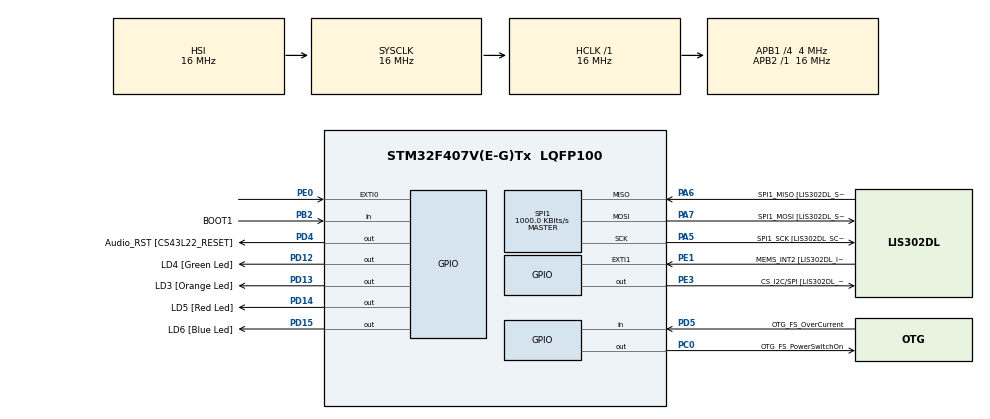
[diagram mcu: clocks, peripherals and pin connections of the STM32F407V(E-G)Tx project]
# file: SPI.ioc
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Mcu.Family=STM32F4
Mcu.Name=STM32F407V(E-G)Tx
Mcu.Package=LQFP100
NVIC.EXTI0_IRQn=true\:0\:0\:false\:false\:true\:true\:true
NVIC.PriorityGroup=NVIC_PRIORITYGROUP_0
PA10.GPIO_Label=OTG_FS_ID
PA10.GPIO_Mode=GPIO_MODE_AF_PP
PA10.GPIO_PuPd=GPIO_NOPULL
PA10.GPIO_Speed=GPIO_SPEED_FREQ_LOW
PA10.Signal=USB_OTG_FS_ID
PA11.GPIO_Label=OTG_FS_DM
PA11.GPIO_Mode=GPIO_MODE_AF_PP
PA11.GPIO_PuPd=GPIO_NOPULL
PA11.GPIO_Speed=GPIO_SPEED_FREQ_LOW
PA11.Signal=USB_OTG_FS_DM
PA12.GPIO_Label=OTG_FS_DP
PA12.GPIO_Mode=GPIO_MODE_AF_PP
PA12.GPIO_PuPd=GPIO_NOPULL
PA12.GPIO_Speed=GPIO_SPEED_FREQ_LOW
PA12.Signal=USB_OTG_FS_DP
PA13.GPIO_Label=SWDIO
PA13.Signal=SYS_JTMS-SWDIO
PA14.GPIO_Label=SWCLK
PA14.Signal=SYS_JTCK-SWCLK
PA4.GPIO_Label=I2S3_WS [CS43L22_LRCK]
PA4.GPIO_Mode=GPIO_MODE_AF_PP
PA4.GPIO_PuPd=GPIO_NOPULL
PA4.GPIO_Speed=GPIO_SPEED_FREQ_LOW
PA4.Signal=I2S3_WS
PA5.GPIO_Label=SPI1_SCK [LIS302DL_SCL/SPC]
PA5.GPIO_Mode=GPIO_MODE_AF_PP
PA5.GPIO_PuPd=GPIO_NOPULL
PA5.GPIO_Speed=GPIO_SPEED_FREQ_LOW
PA5.Mode=Full_Duplex_Master
PA5.Signal=SPI1_SCK
PA6.GPIO_Label=SPI1_MISO [LIS302DL_SDO]
PA6.GPIO_Mode=GPIO_MODE_AF_PP
PA6.GPIO_PuPd=GPIO_NOPULL
PA6.GPIO_Speed=GPIO_SPEED_FREQ_LOW
PA6.Mode=Full_Duplex_Master
PA6.Signal=SPI1_MISO
PA7.GPIO_Label=SPI1_MOSI [LIS302DL_SDA/SDI/SDO]
PA7.GPIO_Mode=GPIO_MODE_AF_PP
PA7.GPIO_PuPd=GPIO_NOPULL
PA7.GPIO_Speed=GPIO_SPEED_FREQ_LOW
PA7.Mode=Full_Duplex_Master
PA7.Signal=SPI1_MOSI
PA9.GPIO_Label=VBUS_FS
PA9.GPIO_Mode=GPIO_MODE_INPUT
PA9.GPIO_PuPd=GPIO_NOPULL
PA9.Signal=USB_OTG_FS_VBUS
PB10.GPIO_Label=CLK_IN [MP45DT02_CLK]
PB10.GPIO_Mode=GPIO_MODE_AF_PP
PB10.GPIO_PuPd=GPIO_NOPULL
PB10.GPIO_Speed=GPIO_SPEED_FREQ_LOW
PB10.Signal=I2S2_CK
PB2.GPIO_Label=BOOT1
PB2.GPIO_Mode=GPIO_MODE_INPUT
PB2.GPIO_PuPd=GPIO_NOPULL
PB2.Signal=GPIO_Input
PB3.GPIO_Label=SWO
PB3.Signal=SYS_JTDO-SWO
PB6.GPIO_Label=Audio_SCL [CS43L22_SCL]
PB6.GPIO_Mode=GPIO_MODE_AF_OD
PB6.GPIO_PuPd=GPIO_NOPULL
PB6.GPIO_Speed=GPIO_SPEED_FREQ_LOW
PB6.Signal=I2C1_SCL
PB9.GPIO_Label=Audio_SDA [CS43L22_SDA]
PB9.GPIO_Mode=GPIO_MODE_AF_OD
PB9.GPIO_PuPd=GPIO_NOPULL
PB9.GPIO_Speed=GPIO_SPEED_FREQ_LOW
PB9.Signal=I2C1_SDA
PC0.GPIO_Label=OTG_FS_PowerSwitchOn
PC0.GPIO_PuPd=GPIO_NOPULL
PC0.GPIO_Speed=GPIO_SPEED_FREQ_LOW
PC0.PinState=GPIO_PIN_SET
PC0.Signal=GPIO_Output
PC10.GPIO_Label=I2S3_SCK [CS43L22_SCLK]
PC10.GPIO_Mode=GPIO_MODE_AF_PP
PC10.GPIO_PuPd=GPIO_NOPULL
PC10.GPIO_Speed=GPIO_SPEED_FREQ_LOW
PC10.Signal=I2S3_CK
PC12.GPIO_Label=I2S3_SD [CS43L22_SDIN]
PC12.GPIO_Mode=GPIO_MODE_AF_PP
PC12.GPIO_PuPd=GPIO_NOPULL
PC12.GPIO_Speed=GPIO_SPEED_FREQ_LOW
PC12.Signal=I2S3_SD
PC14-OSC32_IN.GPIO_Label=PC14-OSC32_IN
PC14-OSC32_IN.Signal=RCC_OSC32_IN
PC15-OSC32_OUT.GPIO_Label=PC15-OSC32_OUT
PC15-OSC32_OUT.Signal=RCC_OSC32_OUT
PC3.GPIO_Label=PDM_OUT [MP45DT02_DOUT]
PC3.GPIO_Mode=GPIO_MODE_AF_PP
PC3.GPIO_PuPd=GPIO_NOPULL
PC3.GPIO_Speed=GPIO_SPEED_FREQ_LOW
PC3.Signal=I2S2_SD
PC7.GPIO_Label=I2S3_MCK [CS43L22_MCLK]
PC7.GPIO_Mode=GPIO_MODE_AF_PP
PC7.GPIO_PuPd=GPIO_NOPULL
PC7.GPIO_Speed=GPIO_SPEED_FREQ_LOW
PC7.Signal=I2S3_MCK
PD12.GPIO_Label=LD4 [Green Led]
PD12.GPIO_PuPd=GPIO_NOPULL
PD12.GPIO_Speed=GPIO_SPEED_FREQ_LOW
PD12.Signal=GPIO_Output
PD13.GPIO_Label=LD3 [Orange Led]
PD13.GPIO_PuPd=GPIO_NOPULL
PD13.GPIO_Speed=GPIO_SPEED_FREQ_LOW
PD13.Signal=GPIO_Output
PD14.GPIO_Label=LD5 [Red Led]
PD14.GPIO_PuPd=GPIO_NOPULL
PD14.GPIO_Speed=GPIO_SPEED_FREQ_LOW
PD14.Signal=GPIO_Output
PD15.GPIO_Label=LD6 [Blue Led]
PD15.GPIO_PuPd=GPIO_NOPULL
PD15.GPIO_Speed=GPIO_SPEED_FREQ_LOW
PD15.Signal=GPIO_Output
PD4.GPIO_Label=Audio_RST [CS43L22_RESET]
PD4.GPIO_PuPd=GPIO_NOPULL
PD4.GPIO_Speed=GPIO_SPEED_FREQ_LOW
PD4.Signal=GPIO_Output
PD5.GPIO_Label=OTG_FS_OverCurrent
PD5.GPIO_Mode=GPIO_MODE_INPUT
PD5.GPIO_PuPd=GPIO_NOPULL
PD5.Signal=GPIO_Input
PE0.Signal=GPXTI0
PE1.GPIO_Label=MEMS_INT2 [LIS302DL_INT2]
PE1.GPIO_ModeDefaultEXTI=GPIO_MODE_EVT_RISING
PE1.GPIO_PuPd=GPIO_NOPULL
PE1.Signal=GPXTI1
PE3.GPIO_Label=CS_I2C/SPI [LIS302DL_CS_I2C/SPI]
PE3.GPIO_PuPd=GPIO_NOPULL
PE3.GPIO_Speed=GPIO_SPEED_FREQ_LOW
PE3.PinState=GPIO_PIN_SET
PE3.Signal=GPIO_Output
PH0-OSC_IN.GPIO_Label=PH0-OSC_IN
PH0-OSC_IN.Signal=RCC_OSC_IN
PH1-OSC_OUT.GPIO_Label=PH1-OSC_OUT
PH1-OSC_OUT.Signal=RCC_OSC_OUT
ProjectManager.HeapSize=0x200
ProjectManager.StackSize=0x400
ProjectManager.TargetToolchain=MDK-ARM V5.27
RCC.48MHZClocksFreq_Value=14285714.285714285
RCC.AHBFreq_Value=16000000
RCC.APB1CLKDivider=RCC_HCLK_DIV4
RCC.APB1Freq_Value=4000000
RCC.APB1TimFreq_Value=8000000
RCC.APB2Freq_Value=16000000
RCC.APB2TimFreq_Value=16000000
RCC.CortexFreq_Value=16000000
RCC.HCLKFreq_Value=16000000
RCC.HSE_VALUE=8000000
RCC.HSI_VALUE=16000000
RCC.LSE_VALUE=32768
RCC.PLLM=8
RCC.PLLN=50
RCC.PLLP=RCC_PLLP_DIV4
RCC.PLLQ=7
RCC.SYSCLKFreq_VALUE=16000000
RCC.VCOOutputFreq_Value=100000000
SPI1.BaudRatePrescaler=SPI_BAUDRATEPRESCALER_16
SPI1.CalculateBaudRate=1000.0 KBits/s
SPI1.Direction=SPI_DIRECTION_2LINES
SPI1.Mode=SPI_MODE_MASTER
SPI1.VirtualType=VM_MASTER
board=STM32F407G-DISC1

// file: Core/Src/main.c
/* USER CODE BEGIN Header */
/**
  ******************************************************************************
  * @file           : main.c
  * @brief          : Main program body
  ******************************************************************************
  * @attention
  *
  * <h2><center>&copy; Copyright (c) 2021 STMicroelectronics.
  * All rights reserved.</center></h2>
  *
  * This software component is licensed by ST under BSD 3-Clause license,
  * the "License"; You may not use this file except in compliance with the
  * License. You may obtain a copy of the License at:
  *                        opensource.org/licenses/BSD-3-Clause
  *
  ******************************************************************************
  */
/* USER CODE END Header */
#include "main.h"

SPI_HandleTypeDef hspi1;

void SystemClock_Config(void);
static void MX_GPIO_Init(void);
static void MX_SPI1_Init(void);

/* USER CODE BEGIN 0 */
uint8_t spiTxBuf[2], spiRxBuf[2];

/* USER CODE END 0 */

int main(void)
{

  /* MCU Configuration--------------------------------------------------------*/

  /* Reset of all peripherals, Initializes the Flash interface and the Systick. */
  HAL_Init();

  /* Configure the system clock */
  SystemClock_Config();

  /* Initialize all configured peripherals */
  MX_GPIO_Init();
  MX_SPI1_Init();
  /* USER CODE BEGIN 2 */

	//---------------------------SPI Transmit
	//1. Set Slave Select Low
	HAL_GPIO_WritePin(GPIOE, GPIO_PIN_3, GPIO_PIN_RESET);
	//2. Transmit register & data
	spiTxBuf[0] = 0x20;
	spiTxBuf[1] = 0x31;
	HAL_SPI_Transmit(&hspi1, spiTxBuf, 2, 50);
	//3. Set Slave Select high
	HAL_GPIO_WritePin(GPIOE, GPIO_PIN_3, GPIO_PIN_SET);

	//---------------------------SPI Recieve
	//1. Set Slave Select Low
	HAL_GPIO_WritePin(GPIOE, GPIO_PIN_3, GPIO_PIN_RESET);
	//2. Transmit register + 0x80 (to set MSB high --> read mode)
	spiTxBuf[0] = 0x20|0x80;
	HAL_SPI_Transmit(&hspi1, spiTxBuf, 1, 50);
	//3. Recieve Data
	HAL_SPI_Receive(&hspi1, spiRxBuf, 1, 50);
	//4. Set Slave Select High
	HAL_GPIO_WritePin(GPIOE, GPIO_PIN_3, GPIO_PIN_SET);

	//1. Set Slave Select Low
	HAL_GPIO_WritePin(GPIOE, GPIO_PIN_3, GPIO_PIN_RESET);
	//2. Transmit register & data
	spiTxBuf[0] = 0x23;
	spiTxBuf[1] = 0xC8;
	HAL_SPI_Transmit(&hspi1, spiTxBuf, 2, 50);
	//3. Set Slave Select high
	HAL_GPIO_WritePin(GPIOE, GPIO_PIN_3, GPIO_PIN_SET);

  /* USER CODE END 2 */

  /* Infinite loop */
  while (1)
  {

		}
}

void SystemClock_Config(void)
{
  RCC_OscInitTypeDef RCC_OscInitStruct = {0};
  RCC_ClkInitTypeDef RCC_ClkInitStruct = {0};

  /** Configure the main internal regulator output voltage
  */
  __HAL_RCC_PWR_CLK_ENABLE();
  __HAL_PWR_VOLTAGESCALING_CONFIG(PWR_REGULATOR_VOLTAGE_SCALE1);
  /** Initializes the RCC Oscillators according to the specified parameters
  * in the RCC_OscInitTypeDef structure.
  */
  RCC_OscInitStruct.OscillatorType = RCC_OSCILLATORTYPE_HSI;
  RCC_OscInitStruct.HSIState = RCC_HSI_ON;
  RCC_OscInitStruct.HSICalibrationValue = RCC_HSICALIBRATION_DEFAULT;
  RCC_OscInitStruct.PLL.PLLState = RCC_PLL_NONE;
  if (HAL_RCC_OscConfig(&RCC_OscInitStruct) != HAL_OK)
  {
    Error_Handler();
  }
  /** Initializes the CPU, AHB and APB buses clocks
  */
  RCC_ClkInitStruct.ClockType = RCC_CLOCKTYPE_HCLK|RCC_CLOCKTYPE_SYSCLK
                              |RCC_CLOCKTYPE_PCLK1|RCC_CLOCKTYPE_PCLK2;
  RCC_ClkInitStruct.SYSCLKSource = RCC_SYSCLKSOURCE_HSI;
  RCC_ClkInitStruct.AHBCLKDivider = RCC_SYSCLK_DIV1;
  RCC_ClkInitStruct.APB1CLKDivider = RCC_HCLK_DIV4;
  RCC_ClkInitStruct.APB2CLKDivider = RCC_HCLK_DIV1;

  if (HAL_RCC_ClockConfig(&RCC_ClkInitStruct, FLASH_LATENCY_0) != HAL_OK)
  {
    Error_Handler();
  }
}

static void MX_SPI1_Init(void)
{

  /* SPI1 parameter configuration*/
  hspi1.Instance = SPI1;
  hspi1.Init.Mode = SPI_MODE_MASTER;
  hspi1.Init.Direction = SPI_DIRECTION_2LINES;
  hspi1.Init.DataSize = SPI_DATASIZE_8BIT;
  hspi1.Init.CLKPolarity = SPI_POLARITY_LOW;
  hspi1.Init.CLKPhase = SPI_PHASE_1EDGE;
  hspi1.Init.NSS = SPI_NSS_SOFT;
  hspi1.Init.BaudRatePrescaler = SPI_BAUDRATEPRESCALER_16;
  hspi1.Init.FirstBit = SPI_FIRSTBIT_MSB;
  hspi1.Init.TIMode = SPI_TIMODE_DISABLE;
  hspi1.Init.CRCCalculation = SPI_CRCCALCULATION_DISABLE;
  hspi1.Init.CRCPolynomial = 10;
  if (HAL_SPI_Init(&hspi1) != HAL_OK)
  {
    Error_Handler();
  }

}

static void MX_GPIO_Init(void)
{
  GPIO_InitTypeDef GPIO_InitStruct = {0};

  /* GPIO Ports Clock Enable */
  __HAL_RCC_GPIOE_CLK_ENABLE();
  __HAL_RCC_GPIOC_CLK_ENABLE();
  __HAL_RCC_GPIOH_CLK_ENABLE();
  __HAL_RCC_GPIOA_CLK_ENABLE();
  __HAL_RCC_GPIOB_CLK_ENABLE();
  __HAL_RCC_GPIOD_CLK_ENABLE();

  /*Configure GPIO pin Output Level */
  HAL_GPIO_WritePin(CS_I2C_SPI_GPIO_Port, CS_I2C_SPI_Pin, GPIO_PIN_SET);

  /*Configure GPIO pin Output Level */
  HAL_GPIO_WritePin(OTG_FS_PowerSwitchOn_GPIO_Port, OTG_FS_PowerSwitchOn_Pin, GPIO_PIN_SET);

  /*Configure GPIO pin Output Level */
  HAL_GPIO_WritePin(GPIOD, LD4_Pin|LD3_Pin|LD5_Pin|LD6_Pin
                          |Audio_RST_Pin, GPIO_PIN_RESET);

  /*Configure GPIO pin : CS_I2C_SPI_Pin */
  GPIO_InitStruct.Pin = CS_I2C_SPI_Pin;
  GPIO_InitStruct.Mode = GPIO_MODE_OUTPUT_PP;
  GPIO_InitStruct.Pull = GPIO_NOPULL;
  GPIO_InitStruct.Speed = GPIO_SPEED_FREQ_LOW;
  HAL_GPIO_Init(CS_I2C_SPI_GPIO_Port, &GPIO_InitStruct);

  /*Configure GPIO pin : OTG_FS_PowerSwitchOn_Pin */
  GPIO_InitStruct.Pin = OTG_FS_PowerSwitchOn_Pin;
  GPIO_InitStruct.Mode = GPIO_MODE_OUTPUT_PP;
  GPIO_InitStruct.Pull = GPIO_NOPULL;
  GPIO_InitStruct.Speed = GPIO_SPEED_FREQ_LOW;
  HAL_GPIO_Init(OTG_FS_PowerSwitchOn_GPIO_Port, &GPIO_InitStruct);

  /*Configure GPIO pin : PDM_OUT_Pin */
  GPIO_InitStruct.Pin = PDM_OUT_Pin;
  GPIO_InitStruct.Mode = GPIO_MODE_AF_PP;
  GPIO_InitStruct.Pull = GPIO_NOPULL;
  GPIO_InitStruct.Speed = GPIO_SPEED_FREQ_LOW;
  GPIO_InitStruct.Alternate = GPIO_AF5_SPI2;
  HAL_GPIO_Init(PDM_OUT_GPIO_Port, &GPIO_InitStruct);

  /*Configure GPIO pin : I2S3_WS_Pin */
  GPIO_InitStruct.Pin = I2S3_WS_Pin;
  GPIO_InitStruct.Mode = GPIO_MODE_AF_PP;
  GPIO_InitStruct.Pull = GPIO_NOPULL;
  GPIO_InitStruct.Speed = GPIO_SPEED_FREQ_LOW;
  GPIO_InitStruct.Alternate = GPIO_AF6_SPI3;
  HAL_GPIO_Init(I2S3_WS_GPIO_Port, &GPIO_InitStruct);

  /*Configure GPIO pin : BOOT1_Pin */
  GPIO_InitStruct.Pin = BOOT1_Pin;
  GPIO_InitStruct.Mode = GPIO_MODE_INPUT;
  GPIO_InitStruct.Pull = GPIO_NOPULL;
  HAL_GPIO_Init(BOOT1_GPIO_Port, &GPIO_InitStruct);

  /*Configure GPIO pin : CLK_IN_Pin */
  GPIO_InitStruct.Pin = CLK_IN_Pin;
  GPIO_InitStruct.Mode = GPIO_MODE_AF_PP;
  GPIO_InitStruct.Pull = GPIO_NOPULL;
  GPIO_InitStruct.Speed = GPIO_SPEED_FREQ_LOW;
  GPIO_InitStruct.Alternate = GPIO_AF5_SPI2;
  HAL_GPIO_Init(CLK_IN_GPIO_Port, &GPIO_InitStruct);

  /*Configure GPIO pins : LD4_Pin LD3_Pin LD5_Pin LD6_Pin
                           Audio_RST_Pin */
  GPIO_InitStruct.Pin = LD4_Pin|LD3_Pin|LD5_Pin|LD6_Pin
                          |Audio_RST_Pin;
  GPIO_InitStruct.Mode = GPIO_MODE_OUTPUT_PP;
  GPIO_InitStruct.Pull = GPIO_NOPULL;
  GPIO_InitStruct.Speed = GPIO_SPEED_FREQ_LOW;
  HAL_GPIO_Init(GPIOD, &GPIO_InitStruct);

  /*Configure GPIO pins : I2S3_MCK_Pin I2S3_SCK_Pin I2S3_SD_Pin */
  GPIO_InitStruct.Pin = I2S3_MCK_Pin|I2S3_SCK_Pin|I2S3_SD_Pin;
  GPIO_InitStruct.Mode = GPIO_MODE_AF_PP;
  GPIO_InitStruct.Pull = GPIO_NOPULL;
  GPIO_InitStruct.Speed = GPIO_SPEED_FREQ_LOW;
  GPIO_InitStruct.Alternate = GPIO_AF6_SPI3;
  HAL_GPIO_Init(GPIOC, &GPIO_InitStruct);

  /*Configure GPIO pin : VBUS_FS_Pin */
  GPIO_InitStruct.Pin = VBUS_FS_Pin;
  GPIO_InitStruct.Mode = GPIO_MODE_INPUT;
  GPIO_InitStruct.Pull = GPIO_NOPULL;
  HAL_GPIO_Init(VBUS_FS_GPIO_Port, &GPIO_InitStruct);

  /*Configure GPIO pins : OTG_FS_ID_Pin OTG_FS_DM_Pin OTG_FS_DP_Pin */
  GPIO_InitStruct.Pin = OTG_FS_ID_Pin|OTG_FS_DM_Pin|OTG_FS_DP_Pin;
  GPIO_InitStruct.Mode = GPIO_MODE_AF_PP;
  GPIO_InitStruct.Pull = GPIO_NOPULL;
  GPIO_InitStruct.Speed = GPIO_SPEED_FREQ_LOW;
  GPIO_InitStruct.Alternate = GPIO_AF10_OTG_FS;
  HAL_GPIO_Init(GPIOA, &GPIO_InitStruct);

  /*Configure GPIO pin : OTG_FS_OverCurrent_Pin */
  GPIO_InitStruct.Pin = OTG_FS_OverCurrent_Pin;
  GPIO_InitStruct.Mode = GPIO_MODE_INPUT;
  GPIO_InitStruct.Pull = GPIO_NOPULL;
  HAL_GPIO_Init(OTG_FS_OverCurrent_GPIO_Port, &GPIO_InitStruct);

  /*Configure GPIO pins : Audio_SCL_Pin Audio_SDA_Pin */
  GPIO_InitStruct.Pin = Audio_SCL_Pin|Audio_SDA_Pin;
  GPIO_InitStruct.Mode = GPIO_MODE_AF_OD;
  GPIO_InitStruct.Pull = GPIO_PULLUP;
  GPIO_InitStruct.Speed = GPIO_SPEED_FREQ_LOW;
  GPIO_InitStruct.Alternate = GPIO_AF4_I2C1;
  HAL_GPIO_Init(GPIOB, &GPIO_InitStruct);

  /*Configure GPIO pin : PE0 */
  GPIO_InitStruct.Pin = GPIO_PIN_0;
  GPIO_InitStruct.Mode = GPIO_MODE_IT_RISING;
  GPIO_InitStruct.Pull = GPIO_NOPULL;
  HAL_GPIO_Init(GPIOE, &GPIO_InitStruct);

  /*Configure GPIO pin : MEMS_INT2_Pin */
  GPIO_InitStruct.Pin = MEMS_INT2_Pin;
  GPIO_InitStruct.Mode = GPIO_MODE_EVT_RISING;
  GPIO_InitStruct.Pull = GPIO_NOPULL;
  HAL_GPIO_Init(MEMS_INT2_GPIO_Port, &GPIO_InitStruct);

  /* EXTI interrupt init*/
  HAL_NVIC_SetPriority(EXTI0_IRQn, 0, 0);
  HAL_NVIC_EnableIRQ(EXTI0_IRQn);

}

/* USER CODE BEGIN 4 */
void HAL_GPIO_EXTI_Callback(uint16_t GPIO_Pin)
{
  /* Prevent unused argument(s) compilation warning */
  UNUSED(GPIO_Pin);
  /* NOTE: This function Should not be modified, when the callback is needed,
           the HAL_GPIO_EXTI_Callback could be implemented in the user file
   */
		//1. Set Slave Select Low
		HAL_GPIO_WritePin(GPIOE, GPIO_PIN_3, GPIO_PIN_RESET);
		//2. Transmit register + 0x80 (to set MSB high --> read mode)
		spiTxBuf[0] = 0x29|0x80;
		HAL_SPI_Transmit(&hspi1, spiTxBuf, 1, 50);
		//3. Recieve Data
		HAL_SPI_Receive(&hspi1, spiRxBuf, 1, 50);
		//4. Set Slave Select High
		HAL_GPIO_WritePin(GPIOE, GPIO_PIN_3, GPIO_PIN_SET);

		HAL_GPIO_TogglePin(GPIOD, GPIO_PIN_12);
}
/* USER CODE END 4 */

void Error_Handler(void)
{
  __disable_irq();
  while (1)
  {
  }
}

/************************ (C) COPYRIGHT STMicroelectronics *****END OF FILE****/
